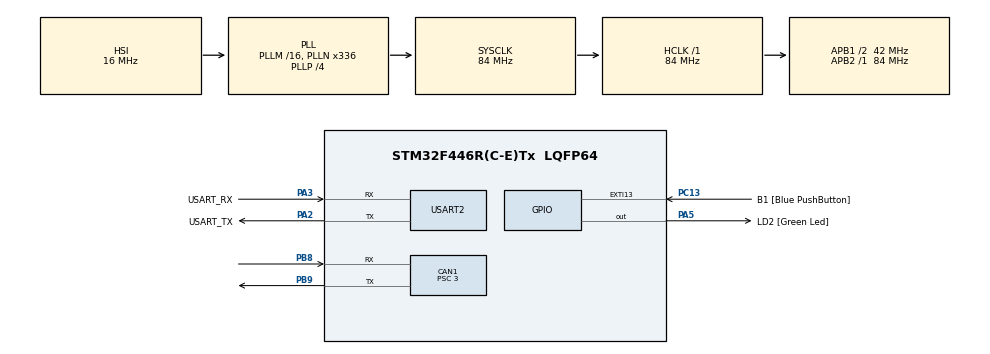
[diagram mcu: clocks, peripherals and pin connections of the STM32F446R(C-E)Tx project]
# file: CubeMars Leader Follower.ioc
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CAN1.BS1=CAN_BS1_11TQ
CAN1.BS2=CAN_BS2_2TQ
CAN1.CalculateBaudRate=1000000
CAN1.CalculateTimeBit=1000
CAN1.CalculateTimeQuantum=71.42857142857143
CAN1.Prescaler=3
Mcu.Family=STM32F4
Mcu.Name=STM32F446R(C-E)Tx
Mcu.Package=LQFP64
NVIC.PriorityGroup=NVIC_PRIORITYGROUP_0
PA13.GPIO_Label=TMS
PA13.Mode=Serial_Wire
PA13.Signal=SYS_JTMS-SWDIO
PA14.GPIO_Label=TCK
PA14.Mode=Serial_Wire
PA14.Signal=SYS_JTCK-SWCLK
PA2.GPIO_Label=USART_TX
PA2.Mode=Asynchronous
PA2.Signal=USART2_TX
PA3.GPIO_Label=USART_RX
PA3.Mode=Asynchronous
PA3.Signal=USART2_RX
PA5.GPIO_Label=LD2 [Green Led]
PA5.Signal=GPIO_Output
PB3.GPIO_Label=SWO
PB3.Signal=SYS_JTDO-SWO
PB8.Mode=CAN_Activate
PB8.Signal=CAN1_RX
PB9.Mode=CAN_Activate
PB9.Signal=CAN1_TX
PC13.GPIO_Label=B1 [Blue PushButton]
PC13.GPIO_ModeDefaultEXTI=GPIO_MODE_IT_FALLING
PC13.Signal=GPXTI13
PC14-OSC32_IN.Mode=LSE-External-Oscillator
PC14-OSC32_IN.Signal=RCC_OSC32_IN
PC15-OSC32_OUT.Mode=LSE-External-Oscillator
PC15-OSC32_OUT.Signal=RCC_OSC32_OUT
PH0-OSC_IN.Mode=HSE-External-Oscillator
PH0-OSC_IN.Signal=RCC_OSC_IN
PH1-OSC_OUT.Mode=HSE-External-Oscillator
PH1-OSC_OUT.Signal=RCC_OSC_OUT
ProjectManager.HeapSize=0x200
ProjectManager.StackSize=0x400
ProjectManager.TargetToolchain=STM32CubeIDE
RCC.48MHZClocksFreq_Value=84000000
RCC.AHBFreq_Value=84000000
RCC.APB1CLKDivider=RCC_HCLK_DIV2
RCC.APB1Freq_Value=42000000
RCC.APB1TimFreq_Value=84000000
RCC.APB2Freq_Value=84000000
RCC.APB2TimFreq_Value=84000000
RCC.CortexFreq_Value=84000000
RCC.FLatency-AdvancedSettings=FLASH_LATENCY_2
RCC.HCLKFreq_Value=84000000
RCC.HSE_VALUE=8000000
RCC.HSI_VALUE=16000000
RCC.PLLN=336
RCC.PLLP=RCC_PLLP_DIV4
RCC.SYSCLKFreq_VALUE=84000000
RCC.SYSCLKSource=RCC_SYSCLKSOURCE_PLLCLK
RCC.USBFreq_Value=168000000
RCC.VCOOutputFreq_Value=336000000
USART2.VirtualMode=VM_ASYNC
board=NUCLEO-F446RE

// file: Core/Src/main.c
/* USER CODE BEGIN Header */
/**
  ******************************************************************************
  * @file           : main.c
  * @brief          : Leader/Follower
  ******************************************************************************
  * @attention
  *
  * Copyright (c) 2026 STMicroelectronics.
  * All rights reserved.
  *
  * This software is licensed under terms that can be found in the LICENSE file
  * in the root directory of this software component.
  * If no LICENSE file comes with this software, it is provided AS-IS.
  *
  ******************************************************************************
  */
/* USER CODE END Header */
#include "main.h"
#include <stdio.h>

CAN_HandleTypeDef hcan1;

UART_HandleTypeDef huart2;

/* USER CODE BEGIN PV */

#define NUM_MOTORS 6
#define NO_LEADER 255

// |Motor IDs|
uint8_t motor_ids[NUM_MOTORS] = {1, 2, 3, 4, 5, 6};

// |Feedback from motors|
float pos[NUM_MOTORS] = {0}; // motor position in radians
float vel[NUM_MOTORS] = {0}; // motor velocity in rad/s

// |Follow Direction|
// Direction for each motor: +1 = same, -1 = inverted
int8_t follow_direction[NUM_MOTORS] = {1, 1, 1, 1, 1, 1};

// |Leader/Follower Mapping|
// If leader_for_motor[i] = j → motor i follows motor j
// If leader_for_motor[i] = NO_LEADER → motor i is a leader
uint8_t leader_for_motor[NUM_MOTORS];

// |Offset|
float follow_offset[NUM_MOTORS];

// |PD Gains for Followers|
// Leader should be set to passive
float Kp_arr[NUM_MOTORS] = {0.0f, 0.0f, 0.0f, 48.0f, 24.0f, 24.0f};
float Kd_arr[NUM_MOTORS] = {0.0f, 0.0f, 0.0f, 2.0f, 2.0f, 2.0f};

// |Smoothed Command Position|
float cmd_pos_slow[NUM_MOTORS];

// |CAN Communication|
CAN_TxHeaderTypeDef txHeader; // CAN transmit header
CAN_RxHeaderTypeDef rxHeader; // CAN receive header

uint8_t txData[8]; // Data being sent to motor
uint8_t rxData[8]; // Data received from motor

uint32_t txMailbox; // Mailbox for CAN transmission

// |Feedback Validity|
uint8_t pos_valid[NUM_MOTORS] = {0};

/* USER CODE END PV */

void SystemClock_Config(void);
static void MX_GPIO_Init(void);
static void MX_CAN1_Init(void);
static void MX_USART2_UART_Init(void);

/* USER CODE BEGIN 0 */

// |Convert CAN ID|
int motor_index_from_id(uint8_t id)
{
    for (int i = 0; i < NUM_MOTORS; i++)
    {
        if (motor_ids[i] == id) return i;
    }
    return -1;
}

// |Assign Follower to Leader|
// Example: set_follower(2,1) for motor 2 follows motor 1
void set_follower(uint8_t follower_id, uint8_t leader_id, int8_t direction)
{
    int f = motor_index_from_id(follower_id);
    int l = motor_index_from_id(leader_id);

    if (f < 0 || l < 0 || f == l) return;

    leader_for_motor[f] = l;
    follow_direction[f] = direction;

    follow_offset[f] = pos[f] - direction * pos[l];

    cmd_pos_slow[f] = pos[f];
}

// |Pack Command|
// Converts float commands into 8-byte CAN frame (MIT mode)
void pack_cmd(float p, float v, float kp, float kd, float t)
{
    // Scale physical values to integer ranges
    uint16_t p_int = (uint16_t)((p + 12.5f) * 65535.0f / 25.0f);
    uint16_t v_int = (uint16_t)((v + 30.0f) * 4095.0f / 60.0f);
    uint16_t kp_int = (uint16_t)(kp * 4095.0f / 500.0f);
    uint16_t kd_int = (uint16_t)(kd * 4095.0f / 5.0f);
    uint16_t t_int = (uint16_t)((t + 18.0f) * 4095.0f / 36.0f);

    // Pack into CAN frame (bit-level format)
    txData[0] = p_int >> 8;
    txData[1] = p_int & 0xFF;
    txData[2] = v_int >> 4;
    txData[3] = ((v_int & 0xF) << 4) | (kp_int >> 8);
    txData[4] = kp_int & 0xFF;
    txData[5] = kd_int >> 4;
    txData[6] = ((kd_int & 0xF) << 4) | (t_int >> 8);
    txData[7] = t_int & 0xFF;
}

// |Unpack Feedback|
// Converts CAN reply into position and velocity
void unpack_reply(float *pos_out, float *vel_out)
{
    // [ID][POS_H][POS_L][VEL_H][VEL_L/KP_H]
    uint16_t p_int = ((uint16_t)rxData[1] << 8) | rxData[2];
    uint16_t v_int = ((uint16_t)rxData[3] << 4) | (rxData[4] >> 4);

    *pos_out = ((float)p_int) * 25.0f / 65535.0f - 12.5f;
    *vel_out = ((float)v_int) * 60.0f / 4095.0f - 30.0f;
}

// |Send Command|
// Sends packed command to a specific motor ID
void send_cmd(uint8_t id)
{
    txHeader.StdId = id;
    txHeader.IDE = CAN_ID_STD;
    txHeader.RTR = CAN_RTR_DATA;
    txHeader.DLC = 8;

    HAL_CAN_AddTxMessage(&hcan1, &txHeader, txData, &txMailbox);
}

// |Enable Motor|
// Sends enable command (MIT mode)
void enable_motor(uint8_t id)
{
    // Fill with 0xFF
    for (int i = 0; i < 8; i++)
        txData[i] = 0xFF;

    txData[7] = 0xFC; // Enable command

    txHeader.StdId = id;
    txHeader.IDE = CAN_ID_STD;
    txHeader.RTR = CAN_RTR_DATA;
    txHeader.DLC = 8;

    HAL_CAN_AddTxMessage(&hcan1, &txHeader, txData, &txMailbox);
}

void disable_motor(uint8_t id)
{
    for (int i = 0; i < 8; i++)
        txData[i] = 0xFF;

    txData[7] = 0xFD;  // MIT disable

    txHeader.StdId = id;
    txHeader.IDE = CAN_ID_STD;
    txHeader.RTR = CAN_RTR_DATA;
    txHeader.DLC = 8;

    HAL_CAN_AddTxMessage(&hcan1, &txHeader, txData, &txMailbox);
}

/* USER CODE END 0 */

int main(void)
{

  /* MCU Configuration--------------------------------------------------------*/

  /* Reset of all peripherals, Initializes the Flash interface and the Systick. */
  HAL_Init();

  /* Configure the system clock */
  SystemClock_Config();

  /* Initialize all configured peripherals */
  MX_GPIO_Init();
  MX_CAN1_Init();
  MX_USART2_UART_Init();
  /* USER CODE BEGIN 2 */

  // Start CAN peripheral
  HAL_CAN_Start(&hcan1);

  // Enable all motors
  // Controller enables motors

  // Allow time for initial feedback
  HAL_Delay(100);

  // |Initialize Mapping|
  for (int i = 0; i < NUM_MOTORS; i++)
  {
      leader_for_motor[i] = NO_LEADER;
      follow_offset[i] = 0.0f;
      cmd_pos_slow[i] = 0.0f;
  }

  // |Enable Motors|
  for (int k = 0; k < 5; k++)
  {
	  for (int i = 0; i < NUM_MOTORS; i++)
	  {
	      while (HAL_CAN_GetTxMailboxesFreeLevel(&hcan1) == 0);
			  enable_motor(motor_ids[i]);
		  HAL_Delay(5);
	  }
  }

  /* USER CODE END 2 */

  /* Infinite loop */
  /* USER CODE BEGIN WHILE */
  while (1)
  {
      // |CAN Receiving|
      while (HAL_CAN_GetRxFifoFillLevel(&hcan1, CAN_RX_FIFO0) > 0)
      {
          HAL_CAN_GetRxMessage(&hcan1, CAN_RX_FIFO0, &rxHeader, rxData);

          // Match incoming CAN ID to one of the motors
          for (int i = 0; i < NUM_MOTORS; i++)
          {
              if (rxHeader.StdId == motor_ids[i])
              {
                  // Update position and velocity from CAN reply
                  unpack_reply(&pos[i], &vel[i]);

                  // Mark that this motor has reported at least once
                  pos_valid[i] = 1;
                  break;
              }
          }
      }

      // Check for Valid Data
      uint8_t all_valid = 1;

      for (int i = 0; i < NUM_MOTORS; i++)
      {
          if (!pos_valid[i])
          {
              all_valid = 0;
              break;
          }
      }

      // Data Output (Run logger.py)
      static uint32_t last_print = 0;
      if (HAL_GetTick() - last_print > 10)
      {
          printf("%lu", HAL_GetTick());

          for (int i = 0; i < NUM_MOTORS; i++)
          {
              printf(",%d", (int)(pos[i] * 1000));
          }

          printf("\r\n");
          last_print = HAL_GetTick();
      }

      // |Set Follower Mapping|
      static uint8_t mapping_set = 0;

      if (!mapping_set && all_valid)
      {
          HAL_Delay(500);  // let motors settle

          set_follower(6, 1, -1);
          set_follower(4, 2, -1);
          set_follower(5, 3, -1);

          mapping_set = 1;
      }

      // |Control Loop|
      static uint32_t last_time = 0;
      uint32_t now = HAL_GetTick();

      if (now - last_time >= 2)
      {
          last_time += 2;

          for (int i = 0; i < NUM_MOTORS; i++)
          {
              float kp = Kp_arr[i];
              float kd = Kd_arr[i];

              if (leader_for_motor[i] != NO_LEADER)
              {
                  // Follower
                  int leader = leader_for_motor[i];

                  // Target = leader position (with direction + offset)
                  float target = follow_direction[i] * pos[leader] + follow_offset[i];

                  // Light smoothing to prevent twitching/aggressive response
                  float alpha = 0.2f;
				  //cmd_pos_slow deprecated to prevent lag, not fully removed because I can no longer test without it
                  //cmd_pos_slow[i] = alpha * target + (1.0f - alpha) * cmd_pos_slow[i];
                  cmd_pos_slow[i] = target;

                  // Send PD position command
                  pack_cmd(cmd_pos_slow[i], 0.0f, kp, kd, 0.0f);
              }
              else
              {
                  // Leader (Passive)
                  pack_cmd(pos[i], 0.0f, 0.0f, 0.0f, 0.0f);
              }

              // Send Command
              while (HAL_CAN_GetTxMailboxesFreeLevel(&hcan1) == 0)
              {
                  // Wait for free mailbox
              }
              send_cmd(motor_ids[i]);
          }
      }
  }
  /* USER CODE END 3 */
}

void SystemClock_Config(void)
{
  RCC_OscInitTypeDef RCC_OscInitStruct = {0};
  RCC_ClkInitTypeDef RCC_ClkInitStruct = {0};

  /** Configure the main internal regulator output voltage
  */
  __HAL_RCC_PWR_CLK_ENABLE();
  __HAL_PWR_VOLTAGESCALING_CONFIG(PWR_REGULATOR_VOLTAGE_SCALE3);

  /** Initializes the RCC Oscillators according to the specified parameters
  * in the RCC_OscInitTypeDef structure.
  */
  RCC_OscInitStruct.OscillatorType = RCC_OSCILLATORTYPE_HSI;
  RCC_OscInitStruct.HSIState = RCC_HSI_ON;
  RCC_OscInitStruct.HSICalibrationValue = RCC_HSICALIBRATION_DEFAULT;
  RCC_OscInitStruct.PLL.PLLState = RCC_PLL_ON;
  RCC_OscInitStruct.PLL.PLLSource = RCC_PLLSOURCE_HSI;
  RCC_OscInitStruct.PLL.PLLM = 16;
  RCC_OscInitStruct.PLL.PLLN = 336;
  RCC_OscInitStruct.PLL.PLLP = RCC_PLLP_DIV4;
  RCC_OscInitStruct.PLL.PLLQ = 2;
  RCC_OscInitStruct.PLL.PLLR = 2;
  if (HAL_RCC_OscConfig(&RCC_OscInitStruct) != HAL_OK)
  {
    Error_Handler();
  }

  /** Initializes the CPU, AHB and APB buses clocks
  */
  RCC_ClkInitStruct.ClockType = RCC_CLOCKTYPE_HCLK|RCC_CLOCKTYPE_SYSCLK
                              |RCC_CLOCKTYPE_PCLK1|RCC_CLOCKTYPE_PCLK2;
  RCC_ClkInitStruct.SYSCLKSource = RCC_SYSCLKSOURCE_PLLCLK;
  RCC_ClkInitStruct.AHBCLKDivider = RCC_SYSCLK_DIV1;
  RCC_ClkInitStruct.APB1CLKDivider = RCC_HCLK_DIV2;
  RCC_ClkInitStruct.APB2CLKDivider = RCC_HCLK_DIV1;

  if (HAL_RCC_ClockConfig(&RCC_ClkInitStruct, FLASH_LATENCY_2) != HAL_OK)
  {
    Error_Handler();
  }
}

static void MX_CAN1_Init(void)
{

	// Configured for 1Mbps CAN
  hcan1.Instance = CAN1;
  hcan1.Init.Prescaler = 3;
  hcan1.Init.Mode = CAN_MODE_NORMAL;
  hcan1.Init.SyncJumpWidth = CAN_SJW_1TQ;
  hcan1.Init.TimeSeg1 = CAN_BS1_11TQ;
  hcan1.Init.TimeSeg2 = CAN_BS2_2TQ;
  hcan1.Init.TimeTriggeredMode = DISABLE;
  hcan1.Init.AutoBusOff = DISABLE;
  hcan1.Init.AutoWakeUp = DISABLE;
  hcan1.Init.AutoRetransmission = ENABLE;
  hcan1.Init.ReceiveFifoLocked = DISABLE;
  hcan1.Init.TransmitFifoPriority = DISABLE;
  if (HAL_CAN_Init(&hcan1) != HAL_OK)
  {
    Error_Handler();
  }
  /* USER CODE BEGIN CAN1_Init 2 */
  CAN_FilterTypeDef filter;

  filter.FilterActivation = ENABLE;
  filter.FilterBank = 0;
  filter.FilterFIFOAssignment = CAN_FILTER_FIFO0;

  filter.FilterIdHigh = 0x0000;
  filter.FilterIdLow  = 0x0000;
  filter.FilterMaskIdHigh = 0x0000;
  filter.FilterMaskIdLow  = 0x0000;

  filter.FilterMode = CAN_FILTERMODE_IDMASK;
  filter.FilterScale = CAN_FILTERSCALE_32BIT;

  HAL_CAN_ConfigFilter(&hcan1, &filter);
  /* USER CODE END CAN1_Init 2 */

}

static void MX_USART2_UART_Init(void)
{

  huart2.Instance = USART2;
  huart2.Init.BaudRate = 115200;
  huart2.Init.WordLength = UART_WORDLENGTH_8B;
  huart2.Init.StopBits = UART_STOPBITS_1;
  huart2.Init.Parity = UART_PARITY_NONE;
  huart2.Init.Mode = UART_MODE_TX_RX;
  huart2.Init.HwFlowCtl = UART_HWCONTROL_NONE;
  huart2.Init.OverSampling = UART_OVERSAMPLING_16;
  if (HAL_UART_Init(&huart2) != HAL_OK)
  {
    Error_Handler();
  }

}

static void MX_GPIO_Init(void)
{
  GPIO_InitTypeDef GPIO_InitStruct = {0};

  /* GPIO Ports Clock Enable */
  __HAL_RCC_GPIOC_CLK_ENABLE();
  __HAL_RCC_GPIOH_CLK_ENABLE();
  __HAL_RCC_GPIOA_CLK_ENABLE();
  __HAL_RCC_GPIOB_CLK_ENABLE();

  /*Configure GPIO pin Output Level */
  HAL_GPIO_WritePin(LD2_GPIO_Port, LD2_Pin, GPIO_PIN_RESET);

  /*Configure GPIO pin : B1_Pin */
  GPIO_InitStruct.Pin = B1_Pin;
  GPIO_InitStruct.Mode = GPIO_MODE_IT_FALLING;
  GPIO_InitStruct.Pull = GPIO_NOPULL;
  HAL_GPIO_Init(B1_GPIO_Port, &GPIO_InitStruct);

  /*Configure GPIO pin : LD2_Pin */
  GPIO_InitStruct.Pin = LD2_Pin;
  GPIO_InitStruct.Mode = GPIO_MODE_OUTPUT_PP;
  GPIO_InitStruct.Pull = GPIO_NOPULL;
  GPIO_InitStruct.Speed = GPIO_SPEED_FREQ_LOW;
  HAL_GPIO_Init(LD2_GPIO_Port, &GPIO_InitStruct);

}

void Error_Handler(void)
{
  __disable_irq();
  while (1)
  {
  }
}

int _write(int file, char *ptr, int len)
{
    HAL_UART_Transmit(&huart2, (uint8_t*)ptr, len, HAL_MAX_DELAY);
    return len;
}
